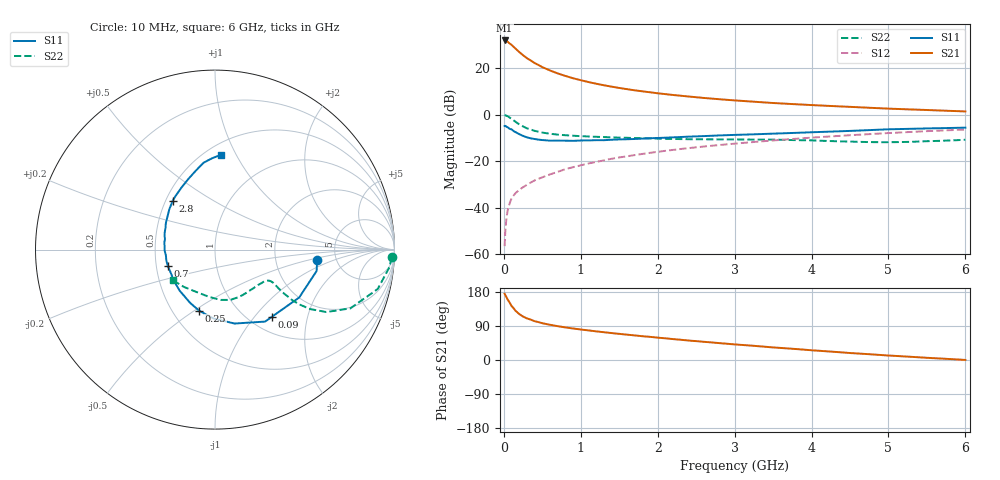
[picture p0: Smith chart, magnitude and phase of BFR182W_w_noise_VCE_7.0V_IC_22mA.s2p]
! (c) 2017  Infineon Technologies AG, Munich
! Infineon Technologies  Discrete & RF Semiconductors
! BFR182W
! VCE =  7.0 V,  IC =  22 mA
! Common Emitter S-Parameters:  Jan 2017
# GHz  S  MA  R  50
!  f  S11  S21  S12  S22
! GHz  MAG  ANG  MAG  ANG  MAG  ANG  MAG  ANG
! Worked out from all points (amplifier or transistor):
!   77 points, 10 MHz to 6 GHz, reference 50 ohm
!   highest |S21| = 32.0 dB at 10 MHz (marker M1)
!   |S21| within 3 dB of that: start of sweep to 135.4 MHz
!   unconditionally stable (mu >= 1): 833.2 MHz to 2.327 GHz
!   at 130 MHz: K = 0.44, MSG = 31.8 dB, |S12| = -34.6 dB
!   at 2.2 GHz: K = 1.01, MAG = 11.3 dB, |S12| = -15.1 dB
!   at 6 GHz: K = 0.87, MSG = 3.9 dB, |S12| = -6.3 dB
!   lowest NFmin = 1.47 dB at 450 MHz
!   S11 on the Smith chart (normalised r, x): 10 MHz: 3.56, -0.61; 90 MHz: 1.25, -1.23; 250 MHz: 0.67, -0.53; 700 MHz: 0.58, -0.11; 2.8 GHz: 0.54, +0.34; 6 GHz: 0.59, +0.87
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0.01  0.5722 -5.8  39.65 174.9  0.0015 87.9  0.9843 -2.5
0.02  0.5785 -11.9  39.53 171.1  0.0033 91.9  0.9771 -5.7
0.05  0.5398 -29.6  37.18 159.2  0.0088 76.2  0.9327 -13.6
0.09  0.4905 -49.7  32.77 146.2  0.0145 73.5  0.8421 -21.3
0.1  0.4886 -55.2  31.97 142.5  0.0159 73.1  0.8222 -23.5
0.15  0.4261 -75.2  26.66 130.2  0.0206 66.1  0.7108 -29.3
0.2  0.3841 -91.1  22.38 121.4  0.0243 66.7  0.6251 -32.0
0.25  0.3521 -104.4  19.11 114.6  0.0278 64.2  0.5619 -33.0
0.3  0.3277 -115.0  16.5 109.8  0.0312 66.7  0.5126 -33.2
0.4  0.3018 -130.9  12.97 102.4  0.0389 67.0  0.4522 -32.4
0.5  0.2867 -143.2  10.6 97.1  0.0453 68.4  0.4151 -31.4
0.6  0.2781 -153.2  8.975 92.9  0.0524 69.2  0.3915 -30.4
0.7  0.2784 -160.8  7.76 89.3  0.0594 70.2  0.3753 -29.7
0.9  0.2755 -173.3  6.11 83.2  0.0748 70.8  0.3551 -29.6
1.1  0.2812 176.6  5.064 78.1  0.0899 71.2  0.3421 -30.3
1.5  0.2955 161.6  3.778 69.0  0.1211 70.3  0.3231 -34.0
2.1  0.322 145.4  2.785 57.2  0.1681 67.2  0.3048 -43.9
2.8  0.3601 130.8  2.162 44.6  0.2238 62.3  0.2964 -58.7
3.1  0.374 125.0  1.988 39.7  0.248 59.9  0.2945 -65.0
4.1  0.427 109.1  1.59 24.3  0.331 51.5  0.2778 -86.0
5.1  0.4921 96.3  1.339 10.7  0.4129 42.0  0.2586 -116.6
6  0.5294 86.3  1.182 0.2  0.4825 33.0  0.2908 -144.0
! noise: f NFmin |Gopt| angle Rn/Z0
0.45  1.47  0.13  -172  0.15
0.9  1.55  0.14  -167  0.15
1.9  2.06  0.29  -141  0.17
2.4  2.34  0.31  -127  0.27
